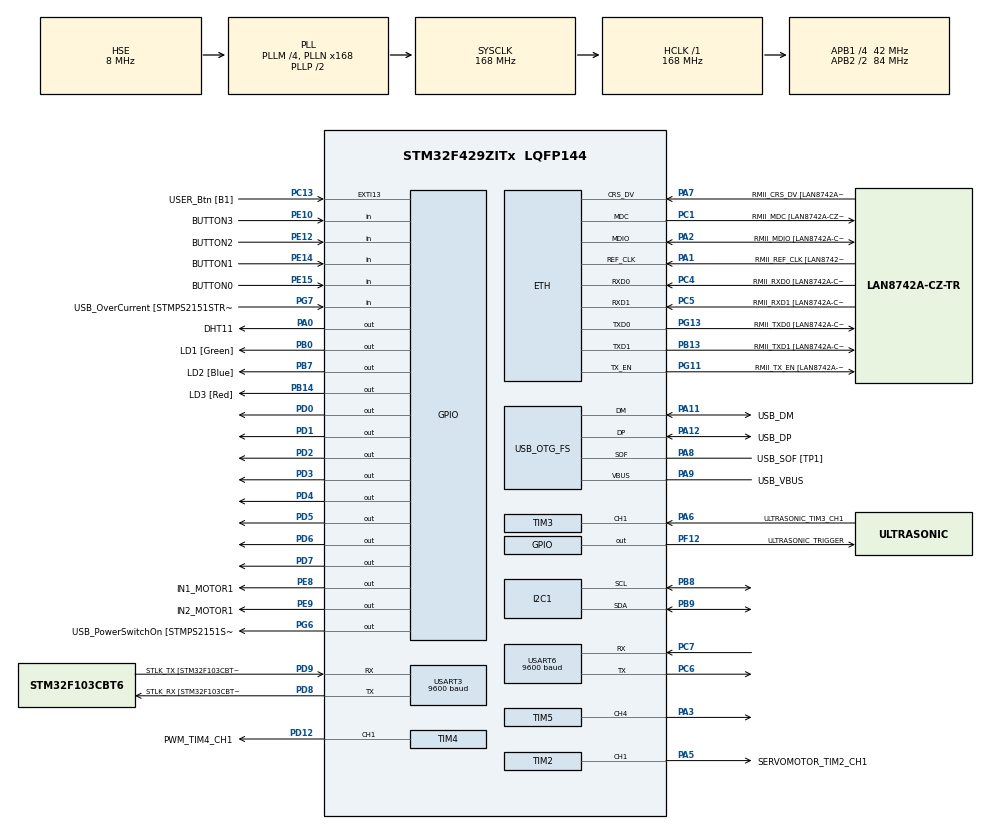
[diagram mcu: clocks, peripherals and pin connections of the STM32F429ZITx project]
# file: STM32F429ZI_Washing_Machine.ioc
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ETH.MediaInterface=HAL_ETH_RMII_MODE
Mcu.Family=STM32F4
Mcu.Name=STM32F429ZITx
Mcu.Package=LQFP144
NVIC.PriorityGroup=NVIC_PRIORITYGROUP_4
NVIC.TIM1_TRG_COM_TIM11_IRQn=true\:0\:0\:false\:false\:true\:true\:true\:true
NVIC.TIM1_UP_TIM10_IRQn=true\:0\:0\:false\:false\:true\:true\:true\:true
NVIC.TIM2_IRQn=true\:0\:0\:false\:false\:true\:true\:true\:true
NVIC.TIM3_IRQn=true\:0\:0\:false\:false\:true\:true\:true\:true
NVIC.TIM4_IRQn=true\:0\:0\:false\:false\:true\:true\:true\:true
NVIC.TIM5_IRQn=true\:0\:0\:false\:false\:true\:true\:true\:true
NVIC.USART3_IRQn=true\:0\:0\:false\:false\:true\:true\:true\:true
NVIC.USART6_IRQn=true\:0\:0\:false\:false\:true\:true\:true\:true
PA0/WKUP.GPIO_Label=DHT11
PA0/WKUP.Signal=GPIO_Output
PA1.GPIO_Label=RMII_REF_CLK [LAN8742A-CZ-TR_REFCLK0]
PA1.Mode=RMII
PA1.Signal=ETH_REF_CLK
PA10.GPIO_Label=USB_ID
PA10.Signal=USB_OTG_FS_ID
PA11.GPIO_Label=USB_DM
PA11.Mode=Device_Only
PA11.Signal=USB_OTG_FS_DM
PA12.GPIO_Label=USB_DP
PA12.Mode=Device_Only
PA12.Signal=USB_OTG_FS_DP
PA13.GPIO_Label=TMS
PA13.Mode=Serial_Wire
PA13.Signal=SYS_JTMS-SWDIO
PA14.GPIO_Label=TCK
PA14.Mode=Serial_Wire
PA14.Signal=SYS_JTCK-SWCLK
PA2.GPIO_Label=RMII_MDIO [LAN8742A-CZ-TR_MDIO]
PA2.Mode=RMII
PA2.Signal=ETH_MDIO
PA3.Signal=S_TIM5_CH4
PA5.GPIO_Label=SERVOMOTOR_TIM2_CH1
PA5.Signal=S_TIM2_CH1_ETR
PA6.GPIO_Label=ULTRASONIC_TIM3_CH1
PA6.Signal=S_TIM3_CH1
PA7.GPIO_Label=RMII_CRS_DV [LAN8742A-CZ-TR_CRS_DV]
PA7.Mode=RMII
PA7.Signal=ETH_CRS_DV
PA8.GPIO_Label=USB_SOF [TP1]
PA8.Mode=Activate_SOF_FS
PA8.Signal=USB_OTG_FS_SOF
PA9.GPIO_Label=USB_VBUS
PA9.Mode=Activate_VBUS
PA9.Signal=USB_OTG_FS_VBUS
PB0.GPIO_Label=LD1 [Green]
PB0.Signal=GPIO_Output
PB13.GPIO_Label=RMII_TXD1 [LAN8742A-CZ-TR_TXD1]
PB13.Mode=RMII
PB13.Signal=ETH_TXD1
PB14.GPIO_Label=LD3 [Red]
PB14.Signal=GPIO_Output
PB7.GPIO_Label=LD2 [Blue]
PB7.Signal=GPIO_Output
PB8.Mode=I2C
PB8.Signal=I2C1_SCL
PB9.Mode=I2C
PB9.Signal=I2C1_SDA
PC1.GPIO_Label=RMII_MDC [LAN8742A-CZ-TR_MDC]
PC1.Mode=RMII
PC1.Signal=ETH_MDC
PC13.GPIO_Label=USER_Btn [B1]
PC13.Signal=GPXTI13
PC14/OSC32_IN.Mode=LSE-External-Oscillator
PC14/OSC32_IN.Signal=RCC_OSC32_IN
PC15/OSC32_OUT.Mode=LSE-External-Oscillator
PC15/OSC32_OUT.Signal=RCC_OSC32_OUT
PC4.GPIO_Label=RMII_RXD0 [LAN8742A-CZ-TR_RXD0]
PC4.Mode=RMII
PC4.Signal=ETH_RXD0
PC5.GPIO_Label=RMII_RXD1 [LAN8742A-CZ-TR_RXD1]
PC5.Mode=RMII
PC5.Signal=ETH_RXD1
PC6.Mode=Asynchronous
PC6.Signal=USART6_TX
PC7.Mode=Asynchronous
PC7.Signal=USART6_RX
PD0.Signal=GPIO_Output
PD1.Signal=GPIO_Output
PD12.GPIO_Label=PWM_TIM4_CH1
PD12.Signal=S_TIM4_CH1
PD2.Signal=GPIO_Output
PD3.Signal=GPIO_Output
PD4.Signal=GPIO_Output
PD5.Signal=GPIO_Output
PD6.Signal=GPIO_Output
PD7.Signal=GPIO_Output
PD8.GPIO_Label=STLK_RX [STM32F103CBT6_PA3]
PD8.Mode=Asynchronous
PD8.Signal=USART3_TX
PD9.GPIO_Label=STLK_TX [STM32F103CBT6_PA2]
PD9.Mode=Asynchronous
PD9.Signal=USART3_RX
PE10.GPIO_Label=BUTTON3
PE10.Signal=GPIO_Input
PE12.GPIO_Label=BUTTON2
PE12.Signal=GPIO_Input
PE14.GPIO_Label=BUTTON1
PE14.Signal=GPIO_Input
PE15.GPIO_Label=BUTTON0
PE15.Signal=GPIO_Input
PE8.GPIO_Label=IN1_MOTOR1
PE8.Signal=GPIO_Output
PE9.GPIO_Label=IN2_MOTOR1
PE9.Signal=GPIO_Output
PF12.GPIO_Label=ULTRASONIC_TRIGGER
PF12.Signal=GPIO_Output
PG11.GPIO_Label=RMII_TX_EN [LAN8742A-CZ-TR_TXEN]
PG11.Mode=RMII
PG11.Signal=ETH_TX_EN
PG13.GPIO_Label=RMII_TXD0 [LAN8742A-CZ-TR_TXD0]
PG13.Mode=RMII
PG13.Signal=ETH_TXD0
PG6.GPIO_Label=USB_PowerSwitchOn [STMPS2151STR_EN]
PG6.Signal=GPIO_Output
PG7.GPIO_Label=USB_OverCurrent [STMPS2151STR_FAULT]
PG7.Signal=GPIO_Input
PH0/OSC_IN.GPIO_Label=MCO [STM32F103CBT6_PA8]
PH0/OSC_IN.Mode=HSE-External-Clock-Source
PH0/OSC_IN.Signal=RCC_OSC_IN
PH1/OSC_OUT.Mode=HSE-External-Clock-Source
PH1/OSC_OUT.Signal=RCC_OSC_OUT
ProjectManager.HeapSize=0x200
ProjectManager.StackSize=0x400
ProjectManager.TargetToolchain=STM32CubeIDE
RCC.48MHZClocksFreq_Value=48000000
RCC.AHBFreq_Value=168000000
RCC.APB1CLKDivider=RCC_HCLK_DIV4
RCC.APB1Freq_Value=42000000
RCC.APB1TimFreq_Value=84000000
RCC.APB2CLKDivider=RCC_HCLK_DIV2
RCC.APB2Freq_Value=84000000
RCC.APB2TimCLKDivider=2
RCC.APB2TimFreq_Value=168000000
RCC.CortexFreq_Value=168000000
RCC.HCLKFreq_Value=168000000
RCC.HSE_VALUE=8000000
RCC.HSI_VALUE=16000000
RCC.PLLM=4
RCC.PLLMUL=RCC_PLL_MUL9
RCC.PLLN=168
RCC.PLLQ=7
RCC.PRESCALERUSB=RCC_USBCLKSOURCE_PLL_DIV1_5
RCC.SYSCLKFreq_VALUE=168000000
RCC.SYSCLKSource=RCC_SYSCLKSOURCE_PLLCLK
RCC.SYSCLKSourceVirtual=RCC_SYSCLKSOURCE_PLLCLK
RCC.USBFreq_Value=48000000
RCC.VCOOutputFreq_Value=336000000
RTC.Date=16
RTC.Hours=9
RTC.Minutes=40
RTC.Month=RTC_MONTH_OCTOBER
RTC.Year=23
SH.S_TIM2_CH1_ETR.0=TIM2_CH1,PWM Generation1 CH1
SH.S_TIM3_CH1.0=TIM3_CH1,Input_Capture1_from_TI1
SH.S_TIM4_CH1.0=TIM4_CH1,PWM Generation1 CH1
SH.S_TIM5_CH4.0=TIM5_CH4,PWM Generation4 CH4
TIM10.Period=10000-1
TIM10.Prescaler=168-1
TIM11.Prescaler=168-1
TIM2.Channel-PWM\ Generation1\ CH1=TIM_CHANNEL_1
TIM2.Period=1000-1
TIM2.Prescaler=1680-1
TIM2.Pulse-PWM\ Generation1\ CH1=500-1
TIM3.Channel-Input_Capture1_from_TI1=TIM_CHANNEL_1
TIM3.ICPolarity_CH1=TIM_INPUTCHANNELPOLARITY_BOTHEDGE
TIM3.Prescaler=84-1
TIM4.Channel-PWM\ Generation1\ CH1=TIM_CHANNEL_1
TIM4.OCFastMode_PWM-PWM\ Generation1\ CH1=TIM_OCFAST_ENABLE
TIM4.Period=100-1
TIM4.Prescaler=840-1
TIM4.Pulse-PWM\ Generation1\ CH1=70-1
TIM5.Channel-PWM\ Generation4\ CH4=TIM_CHANNEL_4
TIM5.Period=400-1
TIM5.Prescaler=52.5-1
TIM5.Pulse-PWM\ Generation4\ CH4=200-1
USART3.BaudRate=9600
USART3.VirtualMode=VM_ASYNC
USART6.BaudRate=9600
USART6.VirtualMode=VM_ASYNC
USB_OTG_FS.VirtualMode=Device_Only
VP_RTC_VS_RTC_Activate.Mode=RTC_Enabled
VP_RTC_VS_RTC_Calendar.Mode=RTC_Calendar
VP_TIM10_VS_ClockSourceINT.Mode=Enable_Timer
VP_TIM11_VS_ClockSourceINT.Mode=Enable_Timer
VP_TIM4_VS_ClockSourceINT.Mode=Internal
board=NUCLEO-F429ZI

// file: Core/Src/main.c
/* USER CODE BEGIN Header */
/**
  ******************************************************************************
  * @file           : main.c
  * @brief          : Main program body
  ******************************************************************************
  * @attention
  *
  * Copyright (c) 2023 STMicroelectronics.
  * All rights reserved.
  *
  * This software is licensed under terms that can be found in the LICENSE file
  * in the root directory of this software component.
  * If no LICENSE file comes with this software, it is provided AS-IS.
  *
  ******************************************************************************
  */
/* USER CODE END Header */
#include "main.h"
#include "string.h"

ETH_TxPacketConfig TxConfig;
ETH_DMADescTypeDef  DMARxDscrTab[ETH_RX_DESC_CNT]; /* Ethernet Rx DMA Descriptors */
ETH_DMADescTypeDef  DMATxDscrTab[ETH_TX_DESC_CNT]; /* Ethernet Tx DMA Descriptors */

ETH_HandleTypeDef heth;

I2C_HandleTypeDef hi2c1;

RTC_HandleTypeDef hrtc;

TIM_HandleTypeDef htim2;
TIM_HandleTypeDef htim3;
TIM_HandleTypeDef htim4;
TIM_HandleTypeDef htim5;
TIM_HandleTypeDef htim10;
TIM_HandleTypeDef htim11;

UART_HandleTypeDef huart3;
UART_HandleTypeDef huart6;

PCD_HandleTypeDef hpcd_USB_OTG_FS;

void SystemClock_Config(void);
static void MX_GPIO_Init(void);
static void MX_ETH_Init(void);
static void MX_USART3_UART_Init(void);
static void MX_USB_OTG_FS_PCD_Init(void);
static void MX_USART6_UART_Init(void);
static void MX_TIM10_Init(void);
static void MX_TIM11_Init(void);
static void MX_TIM3_Init(void);
static void MX_I2C1_Init(void);
static void MX_TIM4_Init(void);
static void MX_TIM2_Init(void);
static void MX_RTC_Init(void);
static void MX_TIM5_Init(void);
/* USER CODE BEGIN PFP */
extern void i2c_lcd_init(void);
extern void dcmotor_pwm_control(void);
extern void run_washing_machine(void);
extern void fnd4digit_main(void);
void delay_us(unsigned long us);
/* USER CODE END PFP */

/* USER CODE BEGIN 0 */
void delay_us(unsigned long us)
{
	__HAL_TIM_SET_COUNTER(&htim11,0);   // tim11 clear
	while(__HAL_TIM_GET_COUNTER(&htim11) < us)
		;
}

// call by SysTick_Handler of stm32f4xx_it.c
// ARM default timer
// enter here every 1ms
volatile int t1ms_counter=0;  // volatile : for disable optimize
void HAL_SYSTICK_Handler(void)
{
	t1ms_counter++;   // 1ms timer
}
/* USER CODE END 0 */

int main(void)
{

  /* MCU Configuration--------------------------------------------------------*/

  /* Reset of all peripherals, Initializes the Flash interface and the Systick. */
  HAL_Init();

  /* Configure the system clock */
  SystemClock_Config();

  /* Initialize all configured peripherals */
  MX_GPIO_Init();
  MX_ETH_Init();
  MX_USART3_UART_Init();
  MX_USB_OTG_FS_PCD_Init();
  MX_USART6_UART_Init();
  MX_TIM10_Init();
  MX_TIM11_Init();
  MX_TIM3_Init();
  MX_I2C1_Init();
  MX_TIM4_Init();
  MX_TIM2_Init();
  MX_RTC_Init();
  MX_TIM5_Init();
  /* USER CODE BEGIN 2 */
  HAL_TIM_PWM_Start_IT(&htim4, TIM_CHANNEL_1); // for DC motor PWM control
  i2c_lcd_init();
  /* USER CODE END 2 */

  /* Infinite loop */
  while (1)
  {

    /* USER CODE BEGIN 3 */
//	  fnd4digit_main();
	  run_washing_machine();
  }
  /* USER CODE END 3 */
}

void SystemClock_Config(void)
{
  RCC_OscInitTypeDef RCC_OscInitStruct = {0};
  RCC_ClkInitTypeDef RCC_ClkInitStruct = {0};

  /** Configure the main internal regulator output voltage
  */
  __HAL_RCC_PWR_CLK_ENABLE();
  __HAL_PWR_VOLTAGESCALING_CONFIG(PWR_REGULATOR_VOLTAGE_SCALE1);

  /** Initializes the RCC Oscillators according to the specified parameters
  * in the RCC_OscInitTypeDef structure.
  */
  RCC_OscInitStruct.OscillatorType = RCC_OSCILLATORTYPE_LSI|RCC_OSCILLATORTYPE_HSE;
  RCC_OscInitStruct.HSEState = RCC_HSE_BYPASS;
  RCC_OscInitStruct.LSIState = RCC_LSI_ON;
  RCC_OscInitStruct.PLL.PLLState = RCC_PLL_ON;
  RCC_OscInitStruct.PLL.PLLSource = RCC_PLLSOURCE_HSE;
  RCC_OscInitStruct.PLL.PLLM = 4;
  RCC_OscInitStruct.PLL.PLLN = 168;
  RCC_OscInitStruct.PLL.PLLP = RCC_PLLP_DIV2;
  RCC_OscInitStruct.PLL.PLLQ = 7;
  if (HAL_RCC_OscConfig(&RCC_OscInitStruct) != HAL_OK)
  {
    Error_Handler();
  }

  /** Initializes the CPU, AHB and APB buses clocks
  */
  RCC_ClkInitStruct.ClockType = RCC_CLOCKTYPE_HCLK|RCC_CLOCKTYPE_SYSCLK
                              |RCC_CLOCKTYPE_PCLK1|RCC_CLOCKTYPE_PCLK2;
  RCC_ClkInitStruct.SYSCLKSource = RCC_SYSCLKSOURCE_PLLCLK;
  RCC_ClkInitStruct.AHBCLKDivider = RCC_SYSCLK_DIV1;
  RCC_ClkInitStruct.APB1CLKDivider = RCC_HCLK_DIV4;
  RCC_ClkInitStruct.APB2CLKDivider = RCC_HCLK_DIV2;

  if (HAL_RCC_ClockConfig(&RCC_ClkInitStruct, FLASH_LATENCY_5) != HAL_OK)
  {
    Error_Handler();
  }
}

static void MX_ETH_Init(void)
{

   static uint8_t MACAddr[6];

  heth.Instance = ETH;
  MACAddr[0] = 0x00;
  MACAddr[1] = 0x80;
  MACAddr[2] = 0xE1;
  MACAddr[3] = 0x00;
  MACAddr[4] = 0x00;
  MACAddr[5] = 0x00;
  heth.Init.MACAddr = &MACAddr[0];
  heth.Init.MediaInterface = HAL_ETH_RMII_MODE;
  heth.Init.TxDesc = DMATxDscrTab;
  heth.Init.RxDesc = DMARxDscrTab;
  heth.Init.RxBuffLen = 1524;

  if (HAL_ETH_Init(&heth) != HAL_OK)
  {
    Error_Handler();
  }

  memset(&TxConfig, 0 , sizeof(ETH_TxPacketConfig));
  TxConfig.Attributes = ETH_TX_PACKETS_FEATURES_CSUM | ETH_TX_PACKETS_FEATURES_CRCPAD;
  TxConfig.ChecksumCtrl = ETH_CHECKSUM_IPHDR_PAYLOAD_INSERT_PHDR_CALC;
  TxConfig.CRCPadCtrl = ETH_CRC_PAD_INSERT;

}

static void MX_I2C1_Init(void)
{

  hi2c1.Instance = I2C1;
  hi2c1.Init.ClockSpeed = 100000;
  hi2c1.Init.DutyCycle = I2C_DUTYCYCLE_2;
  hi2c1.Init.OwnAddress1 = 0;
  hi2c1.Init.AddressingMode = I2C_ADDRESSINGMODE_7BIT;
  hi2c1.Init.DualAddressMode = I2C_DUALADDRESS_DISABLE;
  hi2c1.Init.OwnAddress2 = 0;
  hi2c1.Init.GeneralCallMode = I2C_GENERALCALL_DISABLE;
  hi2c1.Init.NoStretchMode = I2C_NOSTRETCH_DISABLE;
  if (HAL_I2C_Init(&hi2c1) != HAL_OK)
  {
    Error_Handler();
  }

  /** Configure Analogue filter
  */
  if (HAL_I2CEx_ConfigAnalogFilter(&hi2c1, I2C_ANALOGFILTER_ENABLE) != HAL_OK)
  {
    Error_Handler();
  }

  /** Configure Digital filter
  */
  if (HAL_I2CEx_ConfigDigitalFilter(&hi2c1, 0) != HAL_OK)
  {
    Error_Handler();
  }

}

static void MX_RTC_Init(void)
{

  RTC_TimeTypeDef sTime = {0};
  RTC_DateTypeDef sDate = {0};

  /** Initialize RTC Only
  */
  hrtc.Instance = RTC;
  hrtc.Init.HourFormat = RTC_HOURFORMAT_24;
  hrtc.Init.AsynchPrediv = 127;
  hrtc.Init.SynchPrediv = 255;
  hrtc.Init.OutPut = RTC_OUTPUT_DISABLE;
  hrtc.Init.OutPutPolarity = RTC_OUTPUT_POLARITY_HIGH;
  hrtc.Init.OutPutType = RTC_OUTPUT_TYPE_OPENDRAIN;
  if (HAL_RTC_Init(&hrtc) != HAL_OK)
  {
    Error_Handler();
  }

  /** Initialize RTC and set the Time and Date
  */
  sTime.Hours = 0x9;
  sTime.Minutes = 0x40;
  sTime.Seconds = 0x0;
  sTime.DayLightSaving = RTC_DAYLIGHTSAVING_NONE;
  sTime.StoreOperation = RTC_STOREOPERATION_RESET;
  if (HAL_RTC_SetTime(&hrtc, &sTime, RTC_FORMAT_BCD) != HAL_OK)
  {
    Error_Handler();
  }
  sDate.WeekDay = RTC_WEEKDAY_MONDAY;
  sDate.Month = RTC_MONTH_OCTOBER;
  sDate.Date = 0x16;
  sDate.Year = 0x23;

  if (HAL_RTC_SetDate(&hrtc, &sDate, RTC_FORMAT_BCD) != HAL_OK)
  {
    Error_Handler();
  }

}

static void MX_TIM2_Init(void)
{

  TIM_MasterConfigTypeDef sMasterConfig = {0};
  TIM_OC_InitTypeDef sConfigOC = {0};

  htim2.Instance = TIM2;
  htim2.Init.Prescaler = 1680-1;
  htim2.Init.CounterMode = TIM_COUNTERMODE_UP;
  htim2.Init.Period = 1000-1;
  htim2.Init.ClockDivision = TIM_CLOCKDIVISION_DIV1;
  htim2.Init.AutoReloadPreload = TIM_AUTORELOAD_PRELOAD_DISABLE;
  if (HAL_TIM_PWM_Init(&htim2) != HAL_OK)
  {
    Error_Handler();
  }
  sMasterConfig.MasterOutputTrigger = TIM_TRGO_RESET;
  sMasterConfig.MasterSlaveMode = TIM_MASTERSLAVEMODE_DISABLE;
  if (HAL_TIMEx_MasterConfigSynchronization(&htim2, &sMasterConfig) != HAL_OK)
  {
    Error_Handler();
  }
  sConfigOC.OCMode = TIM_OCMODE_PWM1;
  sConfigOC.Pulse = 500-1;
  sConfigOC.OCPolarity = TIM_OCPOLARITY_HIGH;
  sConfigOC.OCFastMode = TIM_OCFAST_DISABLE;
  if (HAL_TIM_PWM_ConfigChannel(&htim2, &sConfigOC, TIM_CHANNEL_1) != HAL_OK)
  {
    Error_Handler();
  }
  HAL_TIM_MspPostInit(&htim2);

}

static void MX_TIM3_Init(void)
{

  TIM_MasterConfigTypeDef sMasterConfig = {0};
  TIM_IC_InitTypeDef sConfigIC = {0};

  htim3.Instance = TIM3;
  htim3.Init.Prescaler = 84-1;
  htim3.Init.CounterMode = TIM_COUNTERMODE_UP;
  htim3.Init.Period = 65535;
  htim3.Init.ClockDivision = TIM_CLOCKDIVISION_DIV1;
  htim3.Init.AutoReloadPreload = TIM_AUTORELOAD_PRELOAD_DISABLE;
  if (HAL_TIM_IC_Init(&htim3) != HAL_OK)
  {
    Error_Handler();
  }
  sMasterConfig.MasterOutputTrigger = TIM_TRGO_RESET;
  sMasterConfig.MasterSlaveMode = TIM_MASTERSLAVEMODE_DISABLE;
  if (HAL_TIMEx_MasterConfigSynchronization(&htim3, &sMasterConfig) != HAL_OK)
  {
    Error_Handler();
  }
  sConfigIC.ICPolarity = TIM_INPUTCHANNELPOLARITY_BOTHEDGE;
  sConfigIC.ICSelection = TIM_ICSELECTION_DIRECTTI;
  sConfigIC.ICPrescaler = TIM_ICPSC_DIV1;
  sConfigIC.ICFilter = 0;
  if (HAL_TIM_IC_ConfigChannel(&htim3, &sConfigIC, TIM_CHANNEL_1) != HAL_OK)
  {
    Error_Handler();
  }

}

static void MX_TIM4_Init(void)
{

  TIM_ClockConfigTypeDef sClockSourceConfig = {0};
  TIM_MasterConfigTypeDef sMasterConfig = {0};
  TIM_OC_InitTypeDef sConfigOC = {0};

  htim4.Instance = TIM4;
  htim4.Init.Prescaler = 840-1;
  htim4.Init.CounterMode = TIM_COUNTERMODE_UP;
  htim4.Init.Period = 100-1;
  htim4.Init.ClockDivision = TIM_CLOCKDIVISION_DIV1;
  htim4.Init.AutoReloadPreload = TIM_AUTORELOAD_PRELOAD_DISABLE;
  if (HAL_TIM_Base_Init(&htim4) != HAL_OK)
  {
    Error_Handler();
  }
  sClockSourceConfig.ClockSource = TIM_CLOCKSOURCE_INTERNAL;
  if (HAL_TIM_ConfigClockSource(&htim4, &sClockSourceConfig) != HAL_OK)
  {
    Error_Handler();
  }
  if (HAL_TIM_PWM_Init(&htim4) != HAL_OK)
  {
    Error_Handler();
  }
  sMasterConfig.MasterOutputTrigger = TIM_TRGO_RESET;
  sMasterConfig.MasterSlaveMode = TIM_MASTERSLAVEMODE_DISABLE;
  if (HAL_TIMEx_MasterConfigSynchronization(&htim4, &sMasterConfig) != HAL_OK)
  {
    Error_Handler();
  }
  sConfigOC.OCMode = TIM_OCMODE_PWM1;
  sConfigOC.Pulse = 70-1;
  sConfigOC.OCPolarity = TIM_OCPOLARITY_HIGH;
  sConfigOC.OCFastMode = TIM_OCFAST_ENABLE;
  if (HAL_TIM_PWM_ConfigChannel(&htim4, &sConfigOC, TIM_CHANNEL_1) != HAL_OK)
  {
    Error_Handler();
  }
  HAL_TIM_MspPostInit(&htim4);

}

static void MX_TIM5_Init(void)
{

  TIM_MasterConfigTypeDef sMasterConfig = {0};
  TIM_OC_InitTypeDef sConfigOC = {0};

  htim5.Instance = TIM5;
  htim5.Init.Prescaler = 52.5-1;
  htim5.Init.CounterMode = TIM_COUNTERMODE_UP;
  htim5.Init.Period = 400-1;
  htim5.Init.ClockDivision = TIM_CLOCKDIVISION_DIV1;
  htim5.Init.AutoReloadPreload = TIM_AUTORELOAD_PRELOAD_DISABLE;
  if (HAL_TIM_PWM_Init(&htim5) != HAL_OK)
  {
    Error_Handler();
  }
  sMasterConfig.MasterOutputTrigger = TIM_TRGO_RESET;
  sMasterConfig.MasterSlaveMode = TIM_MASTERSLAVEMODE_DISABLE;
  if (HAL_TIMEx_MasterConfigSynchronization(&htim5, &sMasterConfig) != HAL_OK)
  {
    Error_Handler();
  }
  sConfigOC.OCMode = TIM_OCMODE_PWM1;
  sConfigOC.Pulse = 200-1;
  sConfigOC.OCPolarity = TIM_OCPOLARITY_HIGH;
  sConfigOC.OCFastMode = TIM_OCFAST_DISABLE;
  if (HAL_TIM_PWM_ConfigChannel(&htim5, &sConfigOC, TIM_CHANNEL_4) != HAL_OK)
  {
    Error_Handler();
  }
  HAL_TIM_MspPostInit(&htim5);

}

static void MX_TIM10_Init(void)
{

  htim10.Instance = TIM10;
  htim10.Init.Prescaler = 168-1;
  htim10.Init.CounterMode = TIM_COUNTERMODE_UP;
  htim10.Init.Period = 10000-1;
  htim10.Init.ClockDivision = TIM_CLOCKDIVISION_DIV1;
  htim10.Init.AutoReloadPreload = TIM_AUTORELOAD_PRELOAD_DISABLE;
  if (HAL_TIM_Base_Init(&htim10) != HAL_OK)
  {
    Error_Handler();
  }

}

static void MX_TIM11_Init(void)
{

  htim11.Instance = TIM11;
  htim11.Init.Prescaler = 168-1;
  htim11.Init.CounterMode = TIM_COUNTERMODE_UP;
  htim11.Init.Period = 65535;
  htim11.Init.ClockDivision = TIM_CLOCKDIVISION_DIV1;
  htim11.Init.AutoReloadPreload = TIM_AUTORELOAD_PRELOAD_DISABLE;
  if (HAL_TIM_Base_Init(&htim11) != HAL_OK)
  {
    Error_Handler();
  }

}

static void MX_USART3_UART_Init(void)
{

  huart3.Instance = USART3;
  huart3.Init.BaudRate = 9600;
  huart3.Init.WordLength = UART_WORDLENGTH_8B;
  huart3.Init.StopBits = UART_STOPBITS_1;
  huart3.Init.Parity = UART_PARITY_NONE;
  huart3.Init.Mode = UART_MODE_TX_RX;
  huart3.Init.HwFlowCtl = UART_HWCONTROL_NONE;
  huart3.Init.OverSampling = UART_OVERSAMPLING_16;
  if (HAL_UART_Init(&huart3) != HAL_OK)
  {
    Error_Handler();
  }

}

static void MX_USART6_UART_Init(void)
{

  huart6.Instance = USART6;
  huart6.Init.BaudRate = 9600;
  huart6.Init.WordLength = UART_WORDLENGTH_8B;
  huart6.Init.StopBits = UART_STOPBITS_1;
  huart6.Init.Parity = UART_PARITY_NONE;
  huart6.Init.Mode = UART_MODE_TX_RX;
  huart6.Init.HwFlowCtl = UART_HWCONTROL_NONE;
  huart6.Init.OverSampling = UART_OVERSAMPLING_16;
  if (HAL_UART_Init(&huart6) != HAL_OK)
  {
    Error_Handler();
  }

}

static void MX_USB_OTG_FS_PCD_Init(void)
{

  hpcd_USB_OTG_FS.Instance = USB_OTG_FS;
  hpcd_USB_OTG_FS.Init.dev_endpoints = 4;
  hpcd_USB_OTG_FS.Init.speed = PCD_SPEED_FULL;
  hpcd_USB_OTG_FS.Init.dma_enable = DISABLE;
  hpcd_USB_OTG_FS.Init.phy_itface = PCD_PHY_EMBEDDED;
  hpcd_USB_OTG_FS.Init.Sof_enable = ENABLE;
  hpcd_USB_OTG_FS.Init.low_power_enable = DISABLE;
  hpcd_USB_OTG_FS.Init.lpm_enable = DISABLE;
  hpcd_USB_OTG_FS.Init.vbus_sensing_enable = ENABLE;
  hpcd_USB_OTG_FS.Init.use_dedicated_ep1 = DISABLE;
  if (HAL_PCD_Init(&hpcd_USB_OTG_FS) != HAL_OK)
  {
    Error_Handler();
  }

}

static void MX_GPIO_Init(void)
{
  GPIO_InitTypeDef GPIO_InitStruct = {0};

  /* GPIO Ports Clock Enable */
  __HAL_RCC_GPIOC_CLK_ENABLE();
  __HAL_RCC_GPIOH_CLK_ENABLE();
  __HAL_RCC_GPIOA_CLK_ENABLE();
  __HAL_RCC_GPIOB_CLK_ENABLE();
  __HAL_RCC_GPIOF_CLK_ENABLE();
  __HAL_RCC_GPIOE_CLK_ENABLE();
  __HAL_RCC_GPIOD_CLK_ENABLE();
  __HAL_RCC_GPIOG_CLK_ENABLE();

  /*Configure GPIO pin Output Level */
  HAL_GPIO_WritePin(DHT11_GPIO_Port, DHT11_Pin, GPIO_PIN_RESET);

  /*Configure GPIO pin Output Level */
  HAL_GPIO_WritePin(GPIOB, LD1_Pin|LD3_Pin|LD2_Pin, GPIO_PIN_RESET);

  /*Configure GPIO pin Output Level */
  HAL_GPIO_WritePin(ULTRASONIC_TRIGGER_GPIO_Port, ULTRASONIC_TRIGGER_Pin, GPIO_PIN_RESET);

  /*Configure GPIO pin Output Level */
  HAL_GPIO_WritePin(GPIOE, IN1_MOTOR1_Pin|IN2_MOTOR1_Pin, GPIO_PIN_RESET);

  /*Configure GPIO pin Output Level */
  HAL_GPIO_WritePin(USB_PowerSwitchOn_GPIO_Port, USB_PowerSwitchOn_Pin, GPIO_PIN_RESET);

  /*Configure GPIO pin Output Level */
  HAL_GPIO_WritePin(GPIOD, GPIO_PIN_0|GPIO_PIN_1|GPIO_PIN_2|GPIO_PIN_3
                          |GPIO_PIN_4|GPIO_PIN_5|GPIO_PIN_6|GPIO_PIN_7, GPIO_PIN_RESET);

  /*Configure GPIO pin : USER_Btn_Pin */
  GPIO_InitStruct.Pin = USER_Btn_Pin;
  GPIO_InitStruct.Mode = GPIO_MODE_IT_RISING;
  GPIO_InitStruct.Pull = GPIO_NOPULL;
  HAL_GPIO_Init(USER_Btn_GPIO_Port, &GPIO_InitStruct);

  /*Configure GPIO pin : DHT11_Pin */
  GPIO_InitStruct.Pin = DHT11_Pin;
  GPIO_InitStruct.Mode = GPIO_MODE_OUTPUT_PP;
  GPIO_InitStruct.Pull = GPIO_NOPULL;
  GPIO_InitStruct.Speed = GPIO_SPEED_FREQ_LOW;
  HAL_GPIO_Init(DHT11_GPIO_Port, &GPIO_InitStruct);

  /*Configure GPIO pins : LD1_Pin LD3_Pin LD2_Pin */
  GPIO_InitStruct.Pin = LD1_Pin|LD3_Pin|LD2_Pin;
  GPIO_InitStruct.Mode = GPIO_MODE_OUTPUT_PP;
  GPIO_InitStruct.Pull = GPIO_NOPULL;
  GPIO_InitStruct.Speed = GPIO_SPEED_FREQ_LOW;
  HAL_GPIO_Init(GPIOB, &GPIO_InitStruct);

  /*Configure GPIO pin : ULTRASONIC_TRIGGER_Pin */
  GPIO_InitStruct.Pin = ULTRASONIC_TRIGGER_Pin;
  GPIO_InitStruct.Mode = GPIO_MODE_OUTPUT_PP;
  GPIO_InitStruct.Pull = GPIO_NOPULL;
  GPIO_InitStruct.Speed = GPIO_SPEED_FREQ_LOW;
  HAL_GPIO_Init(ULTRASONIC_TRIGGER_GPIO_Port, &GPIO_InitStruct);

  /*Configure GPIO pins : IN1_MOTOR1_Pin IN2_MOTOR1_Pin */
  GPIO_InitStruct.Pin = IN1_MOTOR1_Pin|IN2_MOTOR1_Pin;
  GPIO_InitStruct.Mode = GPIO_MODE_OUTPUT_PP;
  GPIO_InitStruct.Pull = GPIO_NOPULL;
  GPIO_InitStruct.Speed = GPIO_SPEED_FREQ_LOW;
  HAL_GPIO_Init(GPIOE, &GPIO_InitStruct);

  /*Configure GPIO pins : BUTTON3_Pin BUTTON2_Pin BUTTON1_Pin BUTTON0_Pin */
  GPIO_InitStruct.Pin = BUTTON3_Pin|BUTTON2_Pin|BUTTON1_Pin|BUTTON0_Pin;
  GPIO_InitStruct.Mode = GPIO_MODE_INPUT;
  GPIO_InitStruct.Pull = GPIO_NOPULL;
  HAL_GPIO_Init(GPIOE, &GPIO_InitStruct);

  /*Configure GPIO pin : USB_PowerSwitchOn_Pin */
  GPIO_InitStruct.Pin = USB_PowerSwitchOn_Pin;
  GPIO_InitStruct.Mode = GPIO_MODE_OUTPUT_PP;
  GPIO_InitStruct.Pull = GPIO_NOPULL;
  GPIO_InitStruct.Speed = GPIO_SPEED_FREQ_LOW;
  HAL_GPIO_Init(USB_PowerSwitchOn_GPIO_Port, &GPIO_InitStruct);

  /*Configure GPIO pin : USB_OverCurrent_Pin */
  GPIO_InitStruct.Pin = USB_OverCurrent_Pin;
  GPIO_InitStruct.Mode = GPIO_MODE_INPUT;
  GPIO_InitStruct.Pull = GPIO_NOPULL;
  HAL_GPIO_Init(USB_OverCurrent_GPIO_Port, &GPIO_InitStruct);

  /*Configure GPIO pins : PD0 PD1 PD2 PD3
                           PD4 PD5 PD6 PD7 */
  GPIO_InitStruct.Pin = GPIO_PIN_0|GPIO_PIN_1|GPIO_PIN_2|GPIO_PIN_3
                          |GPIO_PIN_4|GPIO_PIN_5|GPIO_PIN_6|GPIO_PIN_7;
  GPIO_InitStruct.Mode = GPIO_MODE_OUTPUT_PP;
  GPIO_InitStruct.Pull = GPIO_NOPULL;
  GPIO_InitStruct.Speed = GPIO_SPEED_FREQ_LOW;
  HAL_GPIO_Init(GPIOD, &GPIO_InitStruct);

}

void Error_Handler(void)
{
  __disable_irq();
  while (1)
  {
  }
}
